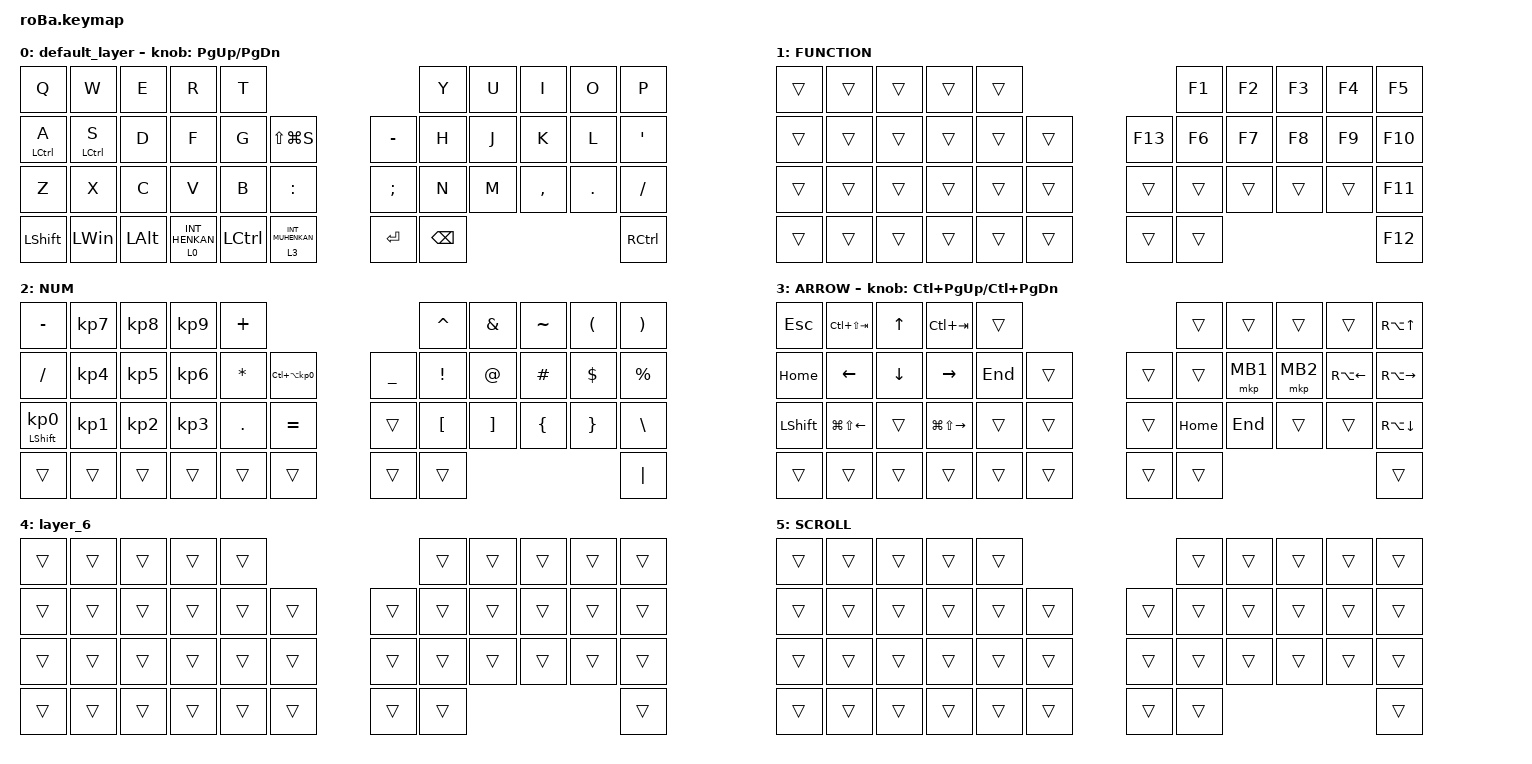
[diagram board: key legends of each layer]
#include <behaviors.dtsi>
#include <dt-bindings/zmk/keys.h>
#include <dt-bindings/zmk/pointing.h>

&mt {
    flavor = "balanced";
    quick-tap-ms = <0>;
};

&trackball {
    automouse-layer = <4>;
    scroll-layers = <5>;

    // arrows {
    //     layers = <3>;
    //     bindings =
    //         <&kp RIGHT_ARROW>,
    //         <&kp LEFT_ARROW>,
    //         <&kp UP_ARROW>,
    //         <&kp DOWN_ARROW>;
    //     tick = <10>;
    //     wait-ms = <5>;
    //     tap-ms = <5>;
    // };
};

/ {
    combos {
        compatible = "zmk,combos";

        tab {
            bindings = <&kp TAB>;
            key-positions = <11 12>;
        };

        shift_tab {
            bindings = <&kp LS(TAB)>;
            key-positions = <12 13>;
        };

        muhennkann {
            bindings = <&to_layer_0 INT_MUHENKAN>;
            key-positions = <11 10>;
        };

        double_quotation {
            bindings = <&kp DOUBLE_QUOTES>;
            key-positions = <20 21>;
        };

        eq {
            bindings = <&kp EQUAL>;
            key-positions = <24 25>;
        };
    };

    macros {
        to_layer_0: to_layer_0 {
            compatible = "zmk,behavior-macro-one-param";
            #binding-cells = <1>;
            bindings = <&to 0 &macro_param_1to1 &kp MACRO_PLACEHOLDER>;
            label = "TO_LAYER_0";
        };
    };

    behaviors {
        lt_to_layer_0: lt_to_layer_0 {
            compatible = "zmk,behavior-hold-tap";
            label = "LAYER_TAP_TO_0";
            bindings = <&mo>, <&to_layer_0>;

            #binding-cells = <2>;
            tapping-term-ms = <200>;
        };
    };

    keymap {
        compatible = "zmk,keymap";

        default_layer {
            bindings = <
&kp Q           &kp W         &kp E         &kp R                        &kp T                                                        &kp Y          &kp U  &kp I      &kp O    &kp P
&mt LCTRL A     &mt LCTRL S   &kp D         &kp F                        &kp G      &kp LS(LG(S))                      &kp MINUS      &kp H          &kp J  &kp K      &kp L    &kp SQT
&kp Z           &kp X         &kp C         &kp V                        &kp B      &kp COLON                          &kp SEMICOLON  &kp N          &kp M  &kp COMMA  &kp DOT  &kp SLASH
&kp LEFT_SHIFT  &kp LEFT_WIN  &kp LEFT_ALT  &lt_to_layer_0 0 INT_HENKAN  &kp LCTRL  &lt_to_layer_0 3 INT_MUHENKAN      &kp ENTER      &kp BACKSPACE                             &kp RCTRL
            >;

            sensor-bindings = <&inc_dec_kp PG_UP PAGE_DOWN>;
        };

        FUNCTION {
            bindings = <
&trans  &trans  &trans  &trans  &trans                       &kp F1  &kp F2  &kp F3  &kp F4  &kp F5
&trans  &trans  &trans  &trans  &trans  &trans      &kp F13  &kp F6  &kp F7  &kp F8  &kp F9  &kp F10
&trans  &trans  &trans  &trans  &trans  &trans      &trans   &trans  &trans  &trans  &trans  &kp F11
&trans  &trans  &trans  &trans  &trans  &trans      &trans   &trans                          &kp F12
            >;
        };

        NUM {
            bindings = <
&kp MINUS                   &kp KP_NUMBER_7  &kp KP_NUMBER_8  &kp KP_NUMBER_9  &kp PLUS                                                   &kp CARET         &kp AMPERSAND      &kp TILDE       &kp LEFT_PARENTHESIS  &kp RIGHT_PARENTHESIS
&kp SLASH                   &kp KP_NUMBER_4  &kp KP_NUMBER_5  &kp KP_NUMBER_6  &kp ASTERISK  &kp LC(LA(KP_NUMBER_0))      &kp UNDERSCORE  &kp EXCLAMATION   &kp AT_SIGN        &kp HASH        &kp DOLLAR            &kp PERCENT
&mt LEFT_SHIFT KP_NUMBER_0  &kp KP_NUMBER_1  &kp KP_NUMBER_2  &kp KP_NUMBER_3  &kp PERIOD    &kp EQUAL                    &trans          &kp LEFT_BRACKET  &kp RIGHT_BRACKET  &kp LEFT_BRACE  &kp RIGHT_BRACE       &kp BACKSLASH
&trans                      &trans           &trans           &trans           &trans        &trans                       &trans          &trans                                                                     &kp PIPE
            >;
        };

        ARROW {
            bindings = <
&kp ESCAPE      &kp LC(LS(TAB))         &kp UP_ARROW    &kp LC(TAB)              &trans                       &trans    &trans    &trans    &trans              &kp RA(UP_ARROW)
&kp HOME        &kp LEFT_ARROW          &kp DOWN_ARROW  &kp RIGHT_ARROW          &kp END  &trans      &trans  &trans    &mkp MB1  &mkp MB2  &kp RA(LEFT_ARROW)  &kp RA(RIGHT)
&kp LEFT_SHIFT  &kp LG(LS(LEFT_ARROW))  &trans          &kp LG(LS(RIGHT_ARROW))  &trans   &trans      &trans  &kp HOME  &kp END   &trans    &trans              &kp RA(DOWN)
&trans          &trans                  &trans          &trans                   &trans   &trans      &trans  &trans                                            &trans
            >;

            sensor-bindings = <&inc_dec_kp LC(PAGE_UP) LC(PAGE_DOWN)>;
        };

        layer_6 {
            bindings = <
&trans  &trans  &trans  &trans  &trans                      &trans  &trans  &trans  &trans  &trans
&trans  &trans  &trans  &trans  &trans  &trans      &trans  &trans  &trans  &trans  &trans  &trans
&trans  &trans  &trans  &trans  &trans  &trans      &trans  &trans  &trans  &trans  &trans  &trans
&trans  &trans  &trans  &trans  &trans  &trans      &trans  &trans                          &trans
            >;
        };

        SCROLL {
            bindings = <
&trans  &trans  &trans  &trans  &trans                      &trans  &trans  &trans  &trans  &trans
&trans  &trans  &trans  &trans  &trans  &trans      &trans  &trans  &trans  &trans  &trans  &trans
&trans  &trans  &trans  &trans  &trans  &trans      &trans  &trans  &trans  &trans  &trans  &trans
&trans  &trans  &trans  &trans  &trans  &trans      &trans  &trans                          &trans
            >;
        };
    };
};
